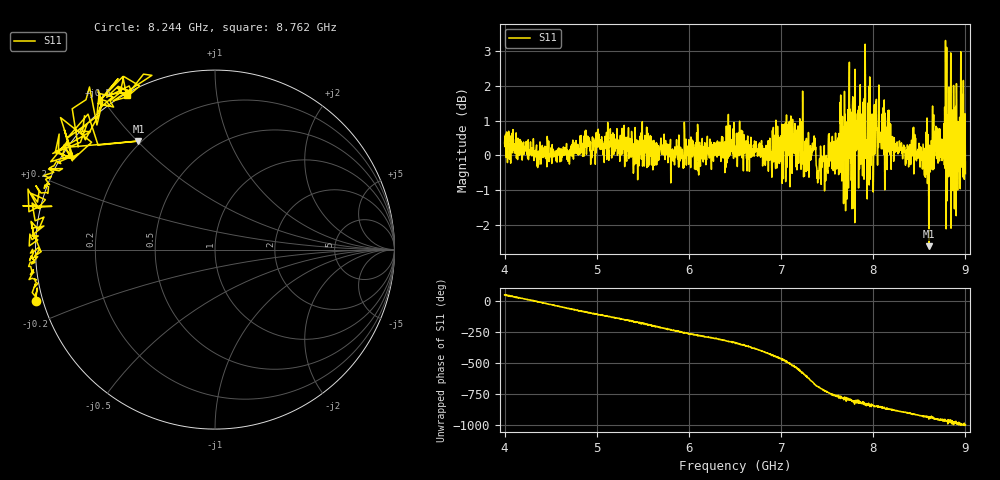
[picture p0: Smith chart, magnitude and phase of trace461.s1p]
! Created with skrf 1.8.0 (http://scikit-rf.org).
# Hz S RI R 50.0
!freq ReS11 ImS11
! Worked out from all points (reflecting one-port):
!   1601 points, 4 GHz to 9 GHz, reference 50 ohm
!   lowest |S11| = -2.6 dB at 8.603 GHz (marker M1), VSWR 6.69, Z = 9.42 + j25.2 ohm
!   phase of S11 starts at 51 deg and turns -1051 deg over the sweep
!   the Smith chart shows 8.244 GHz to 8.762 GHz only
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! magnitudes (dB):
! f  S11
! 4 GHz  0.3
! 4.625 GHz  0.0
! 5.25 GHz  -0.2
! 5.875 GHz  0.0
! 6.5 GHz  0.1
! 7.125 GHz  1.0
! 7.209 GHz  0.4
! 7.262 GHz  0.4
! 7.35 GHz  0.2
! 7.409 GHz  -0.7
! 7.666 GHz  1.1
! 7.697 GHz  0.1
! 7.75 GHz  -0.1
! 7.762 GHz  -0.7
! 7.775 GHz  1.4
! 7.828 GHz  1.2
! 7.875 GHz  -0.1
! 7.928 GHz  -0.1
! 7.981 GHz  0.0
! 8.05 GHz  0.8
! 8.375 GHz  0.2
! 8.603 GHz  -2.6
! 8.656 GHz  1.2
! 8.741 GHz  0.0
! 8.8 GHz  0.5
! 8.869 GHz  -0.8
! 8.972 GHz  0.6
! 9 GHz  -0.5
